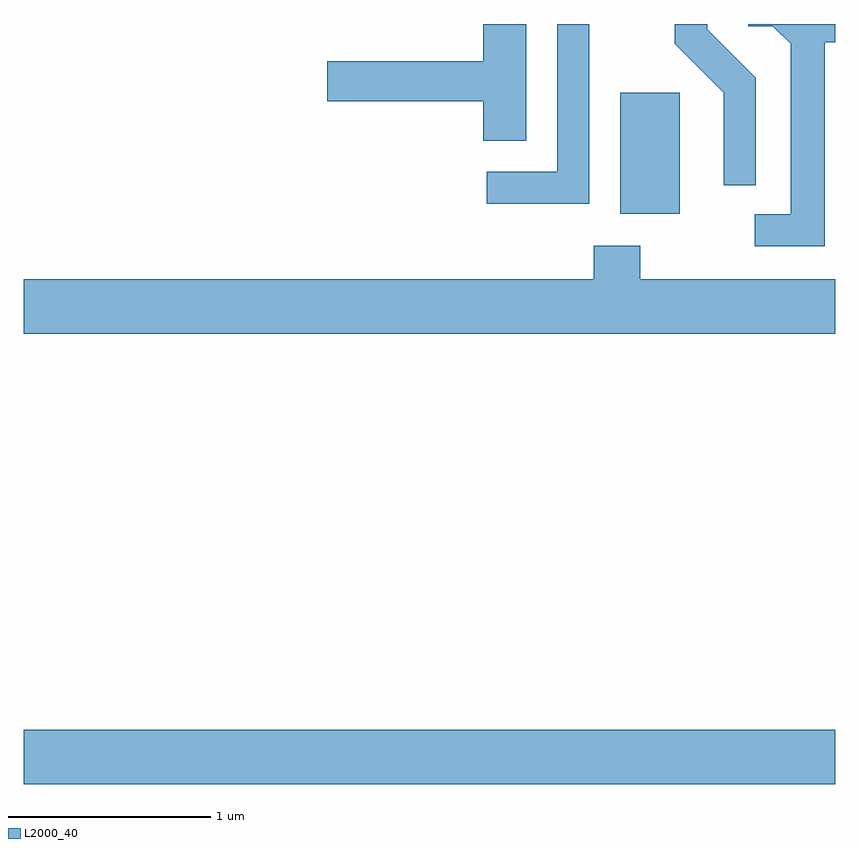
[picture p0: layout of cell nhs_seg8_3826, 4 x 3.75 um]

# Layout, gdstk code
import gdstk
lib = gdstk.Library(unit=1e-6, precision=1e-09)
def R(c, l, rs):  # rectangles x0, y0, x1, y1
    for r in rs: c.add(gdstk.rectangle(r[:2], r[2:], *l))
def P(c, l, *ps):  # polygons
    for p in ps: c.add(gdstk.Polygon(p, *l))
L2000_40 = (2000, 40)

nhs_seg8_3826 = lib.new_cell('nhs_seg8_3826')
R(nhs_seg8_3826, L2000_40, [(299.611,1878.596,303.611,1878.864), (302.551,1881.406,302.844,1882.004)])
P(nhs_seg8_3826, L2000_40, [(302.089,1882.342),(301.876,1882.342),(301.876,1882.159),(301.106,1882.159),(301.106,1881.961),(301.876,1881.961),(301.876,1881.766),(302.089,1881.766)],
  [(302.399,1882.342),(302.241,1882.342),(302.241,1881.614),(301.893,1881.614),(301.893,1881.456),(302.399,1881.456)],
  [(303.219,1882.077),(302.979,1882.317),(302.979,1882.342),(302.821,1882.342),(302.821,1882.244),(303.061,1882.004),(303.061,1881.548),(303.219,1881.548)],
  [(303.559,1882.251),(303.611,1882.251),(303.611,1882.342),(303.183,1882.342),(303.183,1882.331),(303.304,1882.331),(303.391,1882.244),(303.391,1881.404),(303.213,1881.404),(303.213,1881.246),(303.559,1881.246)],
  [(303.611,1881.084),(302.649,1881.084),(302.649,1881.249),(302.421,1881.249),(302.421,1881.084),(299.611,1881.084),(299.611,1880.816),(303.611,1880.816)])

lib.write_gds('nhs_seg8_3826.gds')
